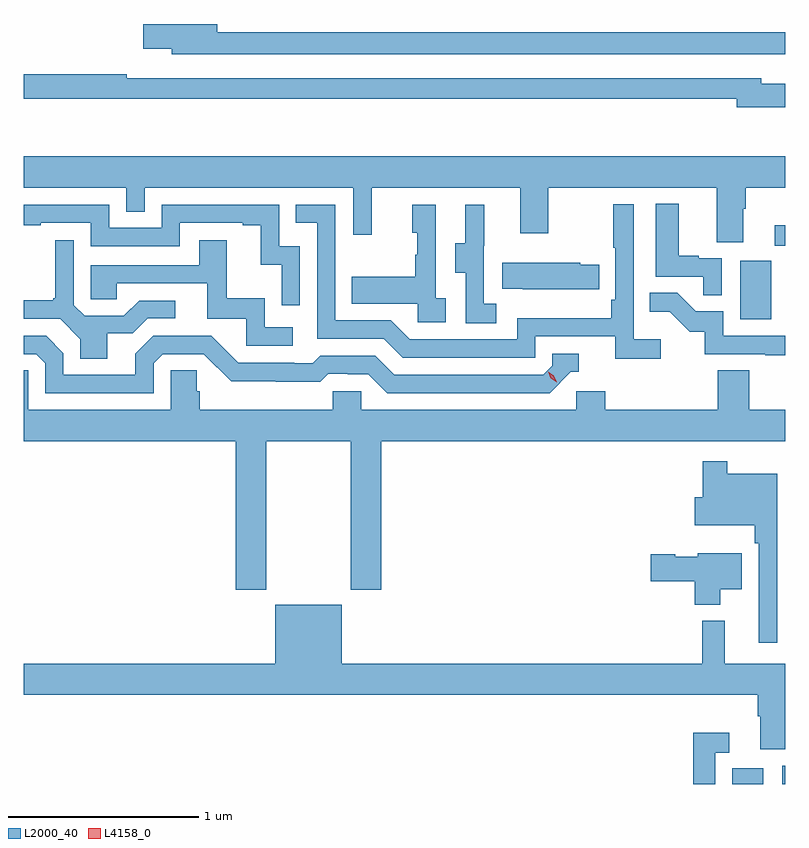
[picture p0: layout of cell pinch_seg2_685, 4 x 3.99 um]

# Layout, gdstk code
import gdstk
lib = gdstk.Library(unit=1e-6, precision=1e-09)
def R(c, l, rs):  # rectangles x0, y0, x1, y1
    for r in rs: c.add(gdstk.rectangle(r[:2], r[2:], *l))
def P(c, l, *ps):  # polygons
    for p in ps: c.add(gdstk.Polygon(p, *l))
L2000_40 = (2000, 40)
L4158_0 = (4158, 0)

pinch_seg2_685 = lib.new_cell('pinch_seg2_685')
R(pinch_seg2_685, L2000_40, [(1107.71,584.564,1107.874,584.647), (1107.972,584.564,1107.989,584.661), (1107.752,587.004,1107.916,587.311), (1107.933,587.391,1107.989,587.497)])
P(pinch_seg2_685, L2000_40, [(1107.989,588.512),(1105.006,588.512),(1105.006,588.555),(1104.618,588.555),(1104.618,588.425),(1104.767,588.425),(1104.767,588.396),(1107.958,588.396),(1107.958,588.395),(1107.989,588.395)],
  [(1107.989,588.241),(1107.862,588.241),(1107.862,588.27),(1104.53,588.27),(1104.53,588.29),(1103.989,588.29),(1103.989,588.162),(1107.734,588.162),(1107.734,588.119),(1107.989,588.119)],
  [(1107.769,587.584),(1107.782,587.584),(1107.782,587.696),(1107.989,587.696),(1107.989,587.86),(1103.989,587.86),(1103.989,587.696),(1104.528,587.696),(1104.528,587.569),(1104.624,587.569),(1104.624,587.696),(1105.719,587.696),(1105.719,587.448),(1105.817,587.448),(1105.817,587.696),(1106.597,587.696),(1106.597,587.457),(1106.745,587.457),(1106.745,587.696),(1107.629,587.696),(1107.629,587.41),(1107.769,587.41)],
  [(1107.654,587.325),(1107.533,587.325),(1107.533,587.338),(1107.43,587.338),(1107.43,587.611),(1107.308,587.611),(1107.308,587.229),(1107.559,587.229),(1107.559,587.131),(1107.654,587.131)],
  [(1107.334,586.9),(1107.192,586.9),(1107.192,587.608),(1107.084,587.608),(1107.084,587.38),(1107.096,587.38),(1107.096,587.107),(1107.076,587.107),(1107.076,587.011),(1106.58,587.011),(1106.58,586.899),(1106.016,586.899),(1105.917,586.998),(1105.626,586.998),(1105.626,587.607),(1105.417,587.607),(1105.417,587.511),(1105.53,587.511),(1105.53,586.902),(1105.88,586.902),(1105.979,586.803),(1106.676,586.803),(1106.676,586.914),(1107.095,586.914),(1107.095,586.798),(1107.334,586.798)],
  [(1105.44,587.388),(1105.332,587.388),(1105.332,587.607),(1104.714,587.607),(1104.714,587.484),(1104.438,587.484),(1104.438,587.607),(1103.989,587.607),(1103.989,587.499),(1104.079,587.499),(1104.079,587.511),(1104.342,587.511),(1104.342,587.388),(1104.81,587.388),(1104.81,587.511),(1105.139,587.511),(1105.139,587.499),(1105.235,587.499),(1105.235,587.291),(1105.344,587.291),(1105.344,587.079),(1105.44,587.079)],
  [(1106.206,587.114),(1106.154,587.114),(1106.154,587.605),(1106.03,587.605),(1106.03,587.46),(1106.056,587.46),(1106.056,587.342),(1106.046,587.342),(1106.046,587.227),(1105.711,587.227),(1105.711,587.087),(1106.058,587.087),(1106.058,586.989),(1106.206,586.989)],
  [(1106.47,587.087),(1106.406,587.087),(1106.406,587.391),(1106.408,587.391),(1106.408,587.605),(1106.309,587.605),(1106.309,587.403),(1106.255,587.403),(1106.255,587.248),(1106.31,587.248),(1106.31,586.984),(1106.47,586.984)],
  [(1104.427,586.93),(1104.562,586.93),(1104.642,587.01),(1104.784,587.01),(1104.784,587.103),(1104.596,587.103),(1104.515,587.022),(1104.309,587.022),(1104.252,587.079),(1104.252,587.419),(1104.155,587.419),(1104.155,587.116),(1104.144,587.116),(1104.144,587.104),(1103.989,587.104),(1103.989,587.007),(1104.18,587.007),(1104.287,586.9),(1104.287,586.798),(1104.427,586.798)],
  [(1105.402,586.962),(1105.254,586.962),(1105.254,587.116),(1105.055,587.116),(1105.055,587.419),(1104.911,587.419),(1104.911,587.289),(1104.342,587.289),(1104.342,587.109),(1104.479,587.109),(1104.479,587.193),(1104.953,587.193),(1104.953,587.007),(1105.158,587.007),(1105.158,586.866),(1105.402,586.866)],
  [(1107.011,587.292),(1106.913,587.292),(1106.913,587.302),(1106.503,587.302),(1106.503,587.165),(1106.611,587.165),(1106.611,587.162),(1107.011,587.162)],
  [(1107.989,586.917),(1107.663,586.917),(1107.663,587.046),(1107.518,587.046),(1107.42,587.144),(1107.277,587.144),(1107.277,587.045),(1107.381,587.045),(1107.488,586.938),(1107.565,586.938),(1107.565,586.821),(1107.883,586.821),(1107.883,586.816),(1107.989,586.816)],
  [(1104.672,586.773),(1104.72,586.821),(1104.936,586.821),(1105.078,586.679),(1105.314,586.679),(1105.314,586.677),(1105.547,586.677),(1105.589,586.719),(1105.692,586.719),(1105.692,586.716),(1105.799,586.716),(1105.898,586.617),(1106.751,586.617),(1106.862,586.728),(1106.905,586.728),(1106.905,586.824),(1106.766,586.824),(1106.766,586.761),(1106.718,586.713),(1105.935,586.713),(1105.836,586.812),(1105.547,586.812),(1105.508,586.773),(1105.409,586.773),(1105.409,586.776),(1105.116,586.776),(1104.975,586.917),(1104.669,586.917),(1104.575,586.823),(1104.575,586.713),(1104.198,586.713),(1104.198,586.827),(1104.108,586.917),(1103.989,586.917),(1103.989,586.821),(1104.054,586.821),(1104.102,586.773),(1104.102,586.617),(1104.672,586.617)],
  [(1105.263,586.364),(1105.708,586.364),(1105.708,585.585),(1105.868,585.585),(1105.868,586.364),(1107.989,586.364),(1107.989,586.528),(1107.8,586.528),(1107.8,586.736),(1107.635,586.736),(1107.635,586.528),(1107.044,586.528),(1107.044,586.626),(1106.892,586.626),(1106.892,586.528),(1105.761,586.528),(1105.761,586.626),(1105.611,586.626),(1105.611,586.528),(1104.914,586.528),(1104.914,586.626),(1104.899,586.626),(1104.899,586.736),(1104.762,586.736),(1104.762,586.528),(1104.012,586.528),(1104.012,586.736),(1103.989,586.736),(1103.989,586.364),(1105.103,586.364),(1105.103,585.585),(1105.263,585.585)],
  [(1107.946,586.192),(1107.685,586.192),(1107.685,586.258),(1107.556,586.258),(1107.556,586.071),(1107.512,586.071),(1107.512,585.923),(1107.829,585.923),(1107.829,585.827),(1107.849,585.827),(1107.849,585.306),(1107.946,585.306)],
  [(1107.646,585.587),(1107.76,585.587),(1107.76,585.775),(1107.528,585.775),(1107.528,585.757),(1107.411,585.757),(1107.411,585.77),(1107.282,585.77),(1107.282,585.628),(1107.512,585.628),(1107.512,585.506),(1107.646,585.506)],
  [(1107.989,585.196),(1107.671,585.196),(1107.671,585.421),(1107.553,585.421),(1107.553,585.196),(1105.66,585.196),(1105.66,585.505),(1105.31,585.505),(1105.31,585.196),(1103.989,585.196),(1103.989,585.032),(1107.845,585.032),(1107.845,584.92),(1107.857,584.92),(1107.857,584.746),(1107.989,584.746)],
  [(1107.621,584.727),(1107.694,584.727),(1107.694,584.833),(1107.505,584.833),(1107.505,584.564),(1107.621,584.564)])
P(pinch_seg2_685, L4158_0, [(1106.788,586.674),(1106.758,586.695),(1106.743,586.728),(1106.743,586.728),(1106.743,586.728),(1106.774,586.708),(1106.789,586.675),(1106.789,586.674)])

lib.write_gds('pinch_seg2_685.gds')
